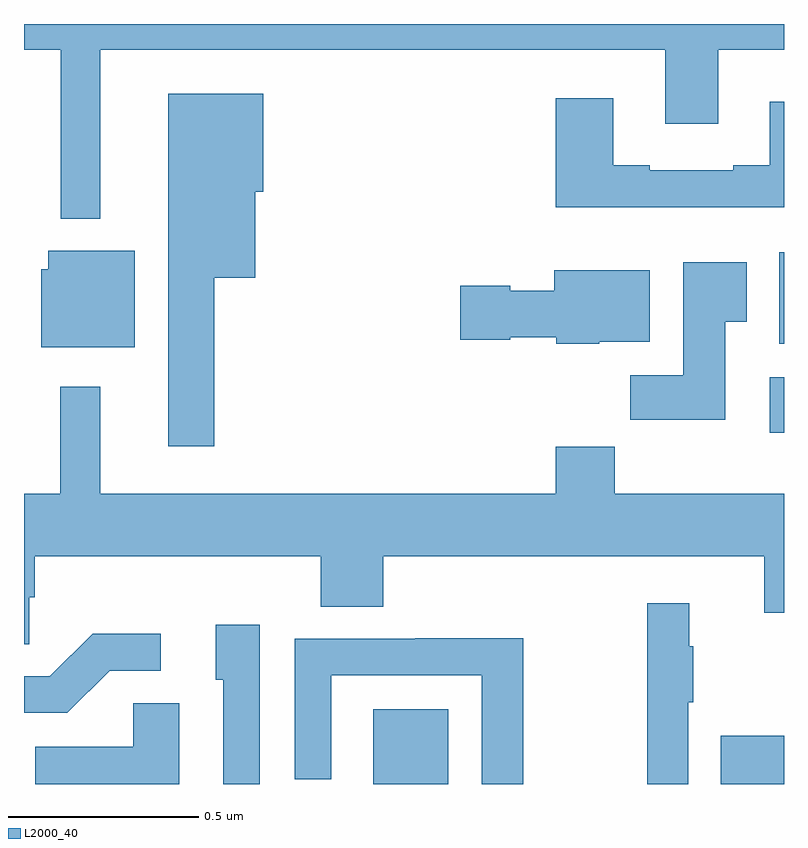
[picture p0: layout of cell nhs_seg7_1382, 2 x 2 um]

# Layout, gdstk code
import gdstk
lib = gdstk.Library(unit=1e-6, precision=1e-09)
def R(c, l, rs):  # rectangles x0, y0, x1, y1
    for r in rs: c.add(gdstk.rectangle(r[:2], r[2:], *l))
def P(c, l, *ps):  # polygons
    for p in ps: c.add(gdstk.Polygon(p, *l))
L2000_40 = (2000, 40)

nhs_seg7_1382 = lib.new_cell('nhs_seg7_1382')
R(nhs_seg7_1382, L2000_40, [(130.919,1016,131.116,1016.197), (131.833,1016,132,1016.127), (131.963,1016.924,132,1017.07), (131.987,1017.158,132,1017.4)])
P(nhs_seg7_1382, L2000_40, [(130.201,1017.932),(131.687,1017.932),(131.687,1017.738),(131.827,1017.738),(131.827,1017.932),(132,1017.932),(132,1018),(130,1018),(130,1017.932),(130.097,1017.932),(130.097,1017.488),(130.201,1017.488)],
  [(130.501,1017.332),(130.609,1017.332),(130.609,1017.558),(130.63,1017.558),(130.63,1017.817),(130.379,1017.817),(130.379,1016.889),(130.501,1016.889)],
  [(132,1017.796),(131.963,1017.796),(131.963,1017.628),(131.867,1017.628),(131.867,1017.615),(131.647,1017.615),(131.647,1017.628),(131.551,1017.628),(131.551,1017.805),(131.399,1017.805),(131.399,1017.518),(132,1017.518)],
  [(130.291,1017.403),(130.064,1017.403),(130.064,1017.354),(130.046,1017.354),(130.046,1017.149),(130.291,1017.149)],
  [(131.845,1017.217),(131.902,1017.217),(131.902,1017.373),(131.735,1017.373),(131.735,1017.076),(131.596,1017.076),(131.596,1016.958),(131.845,1016.958)],
  [(131.514,1017.164),(131.647,1017.164),(131.647,1017.352),(131.396,1017.352),(131.396,1017.298),(131.28,1017.298),(131.28,1017.311),(131.148,1017.311),(131.148,1017.169),(131.28,1017.169),(131.28,1017.176),(131.4,1017.176),(131.4,1017.158),(131.514,1017.158)],
  [(130.014,1016.491),(130.028,1016.491),(130.028,1016.6),(130.781,1016.6),(130.781,1016.467),(130.946,1016.467),(130.946,1016.6),(131.948,1016.6),(131.948,1016.451),(132,1016.451),(132,1016.764),(131.555,1016.764),(131.555,1016.888),(131.399,1016.888),(131.399,1016.764),(130.201,1016.764),(130.201,1017.046),(130.095,1017.046),(130.095,1016.764),(130,1016.764),(130,1016.368),(130.014,1016.368)],
  [(131.748,1016.215),(131.761,1016.215),(131.761,1016.363),(131.75,1016.363),(131.75,1016.476),(131.64,1016.476),(131.64,1016),(131.748,1016)],
  [(130.62,1016.419),(130.505,1016.419),(130.505,1016.274),(130.524,1016.274),(130.524,1016),(130.62,1016)],
  [(130.225,1016.298),(130.36,1016.298),(130.36,1016.396),(130.181,1016.396),(130.068,1016.283),(130,1016.283),(130,1016.187),(130.114,1016.187)],
  [(131.314,1016.384),(131.029,1016.384),(131.029,1016.382),(130.713,1016.382),(130.713,1016.013),(130.809,1016.013),(130.809,1016.286),(131.205,1016.286),(131.205,1016),(131.314,1016)],
  [(130.408,1016.213),(130.287,1016.213),(130.287,1016.098),(130.03,1016.098),(130.03,1016),(130.408,1016)])

lib.write_gds('nhs_seg7_1382.gds')
